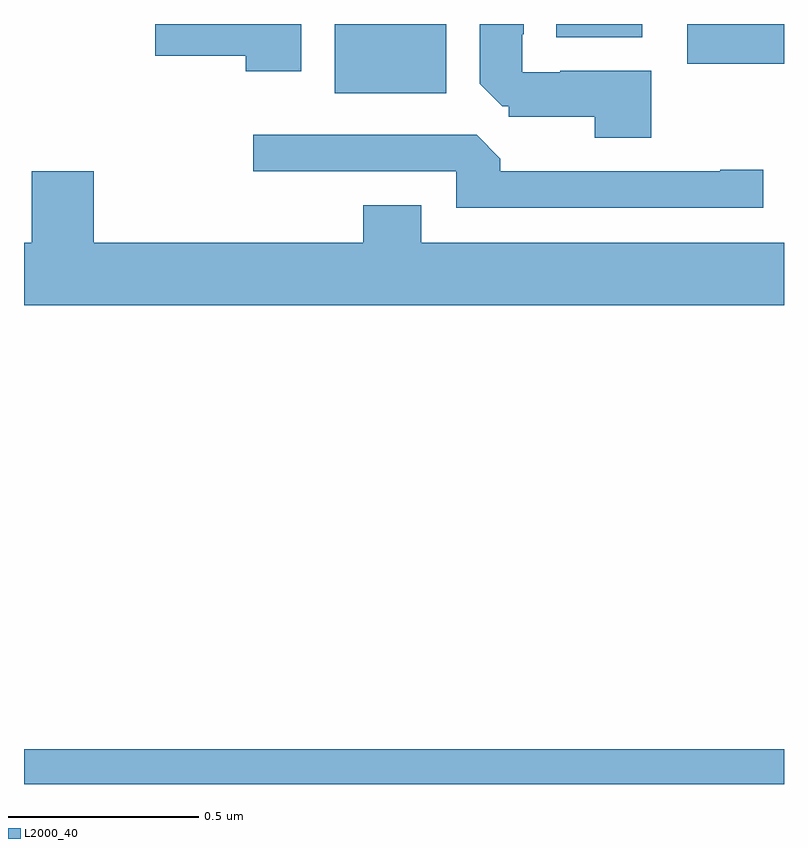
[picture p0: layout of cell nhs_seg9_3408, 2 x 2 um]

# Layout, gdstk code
import gdstk
lib = gdstk.Library(unit=1e-6, precision=1e-09)
def R(c, l, rs):  # rectangles x0, y0, x1, y1
    for r in rs: c.add(gdstk.rectangle(r[:2], r[2:], *l))
def P(c, l, *ps):  # polygons
    for p in ps: c.add(gdstk.Polygon(p, *l))
L2000_40 = (2000, 40)

nhs_seg9_3408 = lib.new_cell('nhs_seg9_3408')
R(nhs_seg9_3408, L2000_40, [(153,1188.5,155,1188.592), (153.818,1190.318,154.111,1190.5), (154.746,1190.396,155,1190.5), (154.4,1190.465,154.627,1190.5)])
P(nhs_seg9_3408, L2000_40, [(153.73,1190.5),(153.345,1190.5),(153.345,1190.417),(153.584,1190.417),(153.584,1190.376),(153.73,1190.376)],
  [(154.651,1190.377),(154.411,1190.377),(154.411,1190.373),(154.311,1190.373),(154.311,1190.473),(154.315,1190.473),(154.315,1190.5),(154.199,1190.5),(154.199,1190.343),(154.259,1190.283),(154.275,1190.283),(154.275,1190.256),(154.502,1190.256),(154.502,1190.201),(154.651,1190.201)],
  [(154.945,1190.117),(154.832,1190.117),(154.832,1190.112),(154.253,1190.112),(154.253,1190.146),(154.191,1190.208),(153.603,1190.208),(153.603,1190.112),(154.137,1190.112),(154.137,1190.016),(154.945,1190.016)],
  [(155,1189.924),(154.045,1189.924),(154.045,1190.023),(153.893,1190.023),(153.893,1189.924),(153.184,1189.924),(153.184,1190.113),(153.02,1190.113),(153.02,1189.924),(153,1189.924),(153,1189.76),(155,1189.76)])

lib.write_gds('nhs_seg9_3408.gds')
